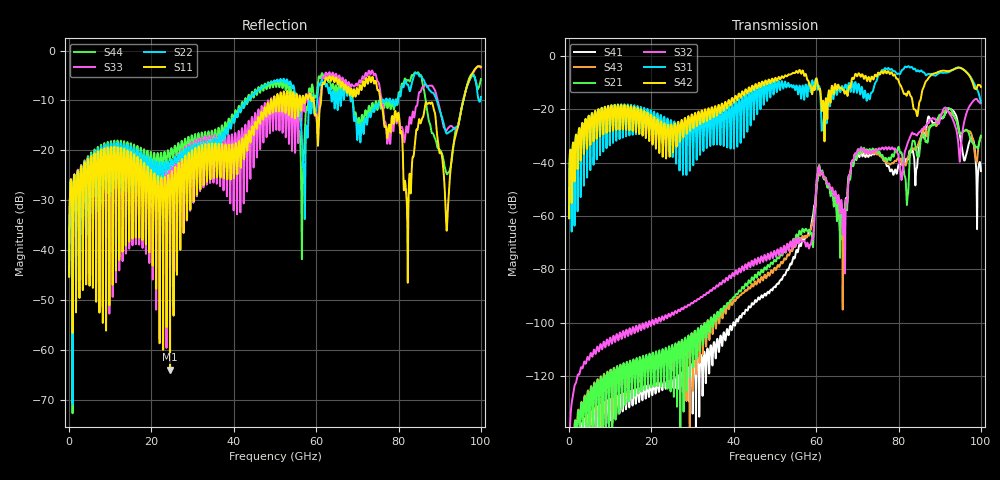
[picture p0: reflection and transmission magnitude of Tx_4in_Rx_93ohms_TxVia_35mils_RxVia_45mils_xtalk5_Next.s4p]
! Info: Touchstone file created by Circ.  Input file=Tx_4in_Rx_93ohms_TxVia_35mils_RxVia_45mils.circ
# Hz S RI R 50
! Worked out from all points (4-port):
!   10000 points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, 10 MHz to 100 GHz, reference 50 ohm
!   strongest paths, dB at 10 MHz, 25.01 GHz, 50.01 GHz, 75.01 GHz, 100 GHz:
!     S42: -60.8, -27.6, -8.4, -6.4, -11.6
!     S31: -60.8, -29.5, -9.7, -7.6, -17.3
!     S32: -162.1, -96.1, -73.7, -35.0, -17.8
!     S21: -175.4, -108.4, -76.7, -36.0, -29.9
!     S43: -175.3, -109.3, -79.5, -36.4, -30.3
!     S41: -180.6, -123.2, -86.5, -36.6, -43.2
!   lowest |S11| = -63.9 dB at 24.53 GHz (marker M1), VSWR 1.00, Z = 50.1 + j0.0225 ohm
!   |S11| at or under -10 dB: start of sweep to 48.95 GHz; 59.43 GHz to 61.19 GHz (1.76 GHz wide, 2.92 % of centre); 75.58 GHz to 95.73 GHz (20.14 GHz wide, 23.5 % of centre) (the widest 3 of 15)
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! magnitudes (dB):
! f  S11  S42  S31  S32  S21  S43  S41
! 10 MHz  -45.3  -60.8  -60.8  -162.1  -175.4  -175.3  -180.6
! 24.53 GHz  -63.9  -31.7  -26.7  -97.7  -114.9  -116.4  -122.1
! 52.94 GHz  -8.1  -7.6  -11.2  -70.5  -71.7  -74.8  -80.1
! 73.28 GHz  -6.4  -8.8  -14.0  -36.5  -35.8  -36.7  -37.3
! 82.02 GHz  -30.7  -14.8  -4.3  -33.7  -55.9  -39.4  -38.6
! 91.76 GHz  -35.6  -5.8  -6.3  -20.1  -19.7  -20.6  -20.6
! 100 GHz  -3.2  -11.6  -17.3  -17.8  -29.9  -30.3  -43.2
